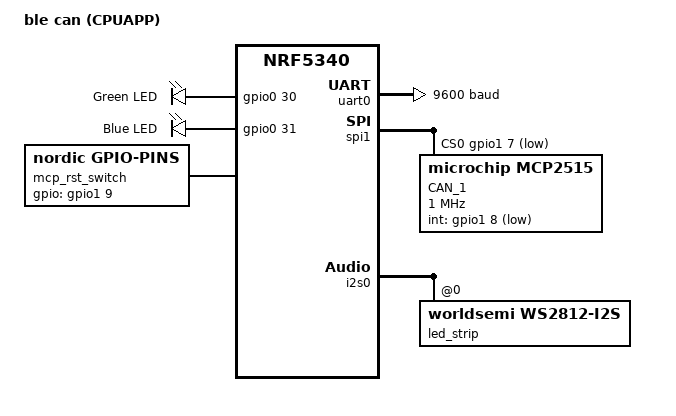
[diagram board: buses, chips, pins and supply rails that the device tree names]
/dts-v1/;
#include <nordic/nrf5340_cpuapp_qkaa.dtsi>
#include "rc_nrf5340-pinctrl.dtsi"
#include <zephyr/dt-bindings/led/led.h>

/ {
	model = "ble can (CPUAPP)";
	compatible = "vend,rc-nrf5340-cpuapp";

	chosen {
		zephyr,sram = &sram0_image;
		zephyr,flash = &flash0;
		zephyr,code-partition = &slot0_partition;
		zephyr,sram-secure-partition = &sram0_s;
		zephyr,sram-non-secure-partition = &sram0_ns;
		zephyr,bt-hci = &bt_hci_ipc0;
		nordic,gps-uart = &uart0;
		zephyr,canbus = &canbus;
	};

	aliases {
		led0 = &led0;
		led1 = &led1;
		cannode = &canbus;
		ledst = &led_strip;
	};

	leds {
		compatible = "gpio-leds";
		led0: led_0 {
			gpios = <&gpio0 30 GPIO_ACTIVE_HIGH>;
			label = "Green LED";
		};
		led1: led_1 {
			gpios = <&gpio0 31 GPIO_ACTIVE_HIGH>;
			label = "Blue LED";
		};
	};

	mcp_rst_switch: mcp_rst_switch {
		//compatible = "power-switch";
		compatible = "nordic,gpio-pins";
		gpios = <&gpio1 9 GPIO_ACTIVE_HIGH>;
	};


	// led_strip: ws2812 {
	// 	compatible = "worldsemi,ws2812-i2s";

	// 	i2s-dev = < &i2s0 >;
	// 	chain-length = <10>; /* arbitrary; change at will */
	// 	color-mapping = <LED_COLOR_ID_GREEN
	// 				LED_COLOR_ID_RED
	// 				LED_COLOR_ID_BLUE>;
	// 	out-active-low;
	// 	reset-delay = <120>;
	// };


};


&uart0 {
	pinctrl-0 = <&uart0_default>;
	pinctrl-1 = <&uart0_sleep>;
	current-speed = <9600>;
	pinctrl-names = "default", "sleep";
	status = "okay";
};

&gpio1 {
	status = "okay";
	label = "GPIO_1";
};

&gpio0 {
	status = "okay";
	label = "GPIO_0";
};

&gpiote {
    status = "okay";
};

&spi1{
    compatible = "nordic,nrf-spim";
    status = "okay";
    cs-gpios = <&gpio1 7 GPIO_ACTIVE_LOW>;
    pinctrl-0 = <&spi1_default>;
    pinctrl-1 = <&spi1_sleep>;
    pinctrl-names = "default","sleep";

    canbus:mcp2515@0 {
		compatible = "microchip,mcp2515";
		spi-max-frequency = <1000000>;
		int-gpios = <&gpio1 8 (GPIO_ACTIVE_LOW)>; 
		status = "okay";
		label = "CAN_1";
		reg = <0x0>;
		osc-freq = <8000000>;
		can-transceiver {
			min-bitrate = <125000>;
			max-bitrate = <1000000>;
		};

	};
};

i2s_led: &i2s0 {
	status = "okay";
	pinctrl-0 = <&i2s0_default_alt>;
	pinctrl-names = "default";

	led_strip: ws2812@0 {
		compatible = "worldsemi,ws2812-i2s";

		reg = <0>;
		chain-length = <2>; /* arbitrary; change at will */
		color-mapping = <LED_COLOR_ID_GREEN
					LED_COLOR_ID_RED
					LED_COLOR_ID_BLUE>;
		reset-delay = <500>;
	};
};



#include "rc_nrf5340-cpuapp_partitioning.dtsi"
#include "rc_nrf5340-shared_sram.dtsi"
